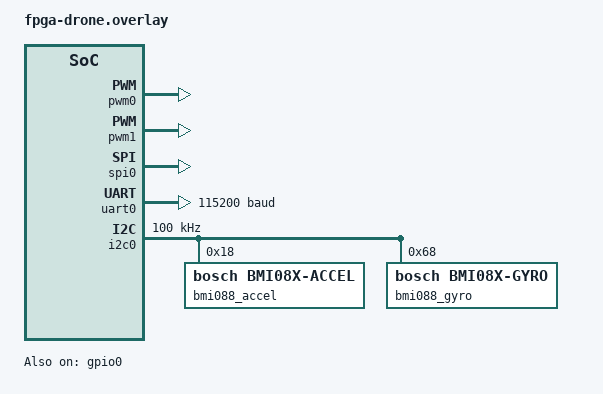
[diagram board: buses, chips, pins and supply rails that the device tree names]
/*
 * RiskyBird logical drone-peripheral contract for Chipyard DroneLogic
 * configurations.
 *
 * The addresses and interrupt IDs below are derived from elaborated Chipyard
 * DTS output. They do not assign FPGA package pins. A target may only be
 * considered physically deployable after its harness/constraints route these
 * logical signals to verified board connectors at compatible I/O voltages.
 */

/ {
	chosen {
		zephyr,console = &uart0;
		zephyr,shell-uart = &uart0;
		zephyr,sram = &ram0;
	};

	aliases {
		bmi088-accel = &bmi088_accel;
		bmi088-gyro = &bmi088_gyro;
	};

	gpio0: gpio@10010000 {
		compatible = "sifive,gpio0";
		reg = <0x10010000 0x1000>;
		interrupt-parent = <&plic>;
		interrupts = <11 1>, <12 1>, <13 1>;
		gpio-controller;
		#gpio-cells = <2>;
		status = "okay";
	};

	pwm0: pwm@10050000 {
		compatible = "sifive,pwm0";
		reg = <0x10050000 0x1000>;
		interrupt-parent = <&plic>;
		interrupts = <2 1>, <3 1>, <4 1>, <5 1>;
		sifive,compare-width = <16>;
		#pwm-cells = <2>;
		status = "okay";
	};

	pwm1: pwm@10051000 {
		compatible = "sifive,pwm0";
		reg = <0x10051000 0x1000>;
		interrupt-parent = <&plic>;
		interrupts = <6 1>, <7 1>, <8 1>, <9 1>;
		sifive,compare-width = <16>;
		#pwm-cells = <2>;
		status = "okay";
	};

	spi0: spi@10031000 {
		compatible = "sifive,spi0";
		reg = <0x10031000 0x1000>;
		reg-names = "control";
		interrupt-parent = <&plic>;
		interrupts = <14 1>;
		#address-cells = <1>;
		#size-cells = <0>;
		status = "okay";
	};
};

&{/cpus/cpu@0} {
	clock-frequency = <50000000>;
};

&{/cpus/cpu@1} {
	status = "disabled";
};

&{/cpus/cpu@2} {
	status = "disabled";
};

&{/cpus/cpu@3} {
	status = "disabled";
};

&{/cpus/cpu@4} {
	status = "disabled";
};

&{/cpus/cpu@5} {
	status = "disabled";
};

&{/cpus/cpu@6} {
	status = "disabled";
};

&{/cpus/cpu@7} {
	status = "disabled";
};

&plic {
	riscv,max-priority = <7>;
	riscv,ndev = <15>;
};

&uart0 {
	status = "okay";
	current-speed = <115200>;
	interrupts = <10 1>;
};

&i2c0 {
	status = "okay";
	clock-frequency = <100000>;
	interrupts = <1 1>;

	bmi088_accel: accelerometer@18 {
		compatible = "bosch,bmi08x-accel";
		reg = <0x18>;
		accel-hz = "200";
		accel-fs = <6>;
	};

	bmi088_gyro: gyroscope@68 {
		compatible = "bosch,bmi08x-gyro";
		reg = <0x68>;
		gyro-hz = "200_64";
		gyro-fs = <1000>;
	};
};

&htif {
	status = "disabled";
};

&flash0 {
	status = "disabled";
};

&spad0 {
	status = "disabled";
};
